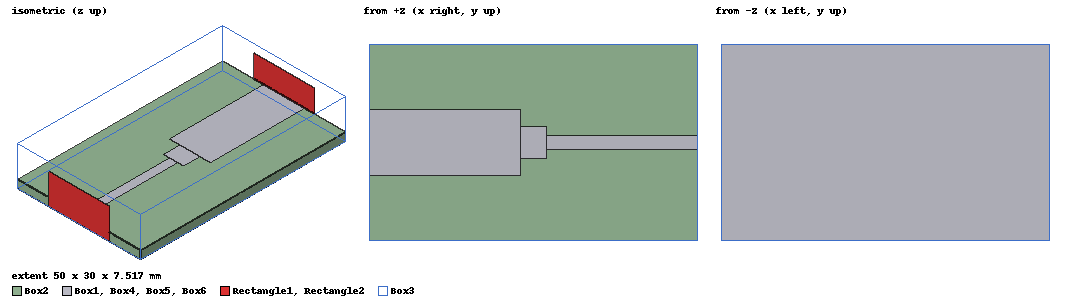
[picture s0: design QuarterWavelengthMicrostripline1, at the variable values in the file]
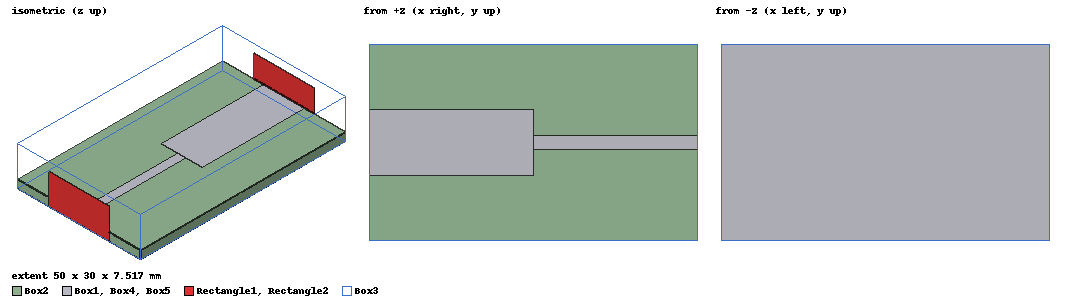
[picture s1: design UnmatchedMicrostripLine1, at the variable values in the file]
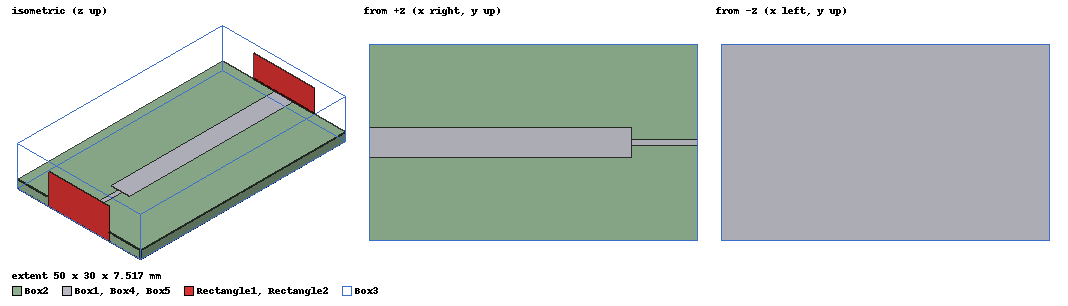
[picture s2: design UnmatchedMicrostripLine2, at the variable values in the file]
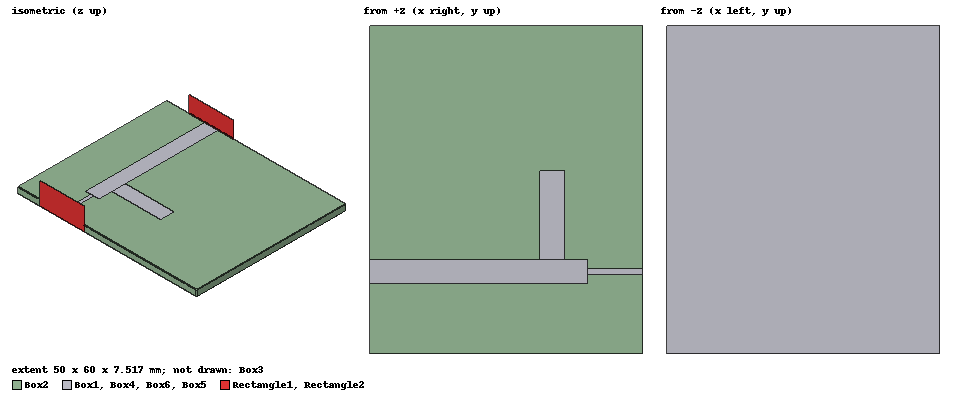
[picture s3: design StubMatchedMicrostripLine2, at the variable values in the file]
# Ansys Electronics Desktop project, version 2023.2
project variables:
  $L = 3.98mm
  $G = 3.98mm
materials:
  vacuum: permittivity=1
  pec: conductivity=1e+30
  air: permittivity=1.0006 permeability=1.0000004
  Teflon (tm): permittivity=2.1 dielectric_loss_tangent=0.001

design QuarterWavelengthMicrostripline1 (HFSS, HFSS Terminal Network, model units mm)
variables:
  Len = 3.98mm
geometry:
  Box1 [pec] = box(corner=(0mm, 0mm, 0mm), size=(50mm, 30mm, 17um))
  Box2 [Teflon (tm)] = box(corner=(0mm, 0mm, 17um), size=(50mm, 30mm, 2mm))
  Box3 [air] = box(corner=(0mm, 0mm, 0mm), size=(50mm, 30mm, 9.5mm))
  Box4 [pec] = box(corner=(0mm, 10mm, 2.017mm), size=(25mm-Len/2, 10mm, 17um))
  Box5 [pec] = box(corner=(25mm+Len/2, 14mm, 2mm), size=(25mm-Len/2, 2mm, 17um))
  Rectangle1 = rectangle(corner=(0mm, 7.5mm, 0mm), y_size=15mm, z_size=7.5mm)
  Rectangle2 = rectangle(corner=(50mm, 7.5mm, 0.017mm), y_size=15mm, z_size=7.5mm)
  Box6 [pec] = box(corner=(25mm-Len/2, 12.555961mm, 2.017mm), size=(Len, 4.888077829mm, 17um))
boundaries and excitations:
  1: Wave Port Objects=Rectangle2 WavePortType=Modal NumModes=1 Modes{Mode1{CharImp=Zpi}}
  2: Wave Port Objects=Rectangle1 WavePortType=Modal NumModes=1 Modes{Mode1{CharImp=Zpi}}
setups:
  Setup1: HfssDriven Frequency=12GHz MaxDeltaS=0.005 MaximumPasses=6 MinimumPasses=1 MinimumConvergedPasses=1 PercentRefinement=30 BasisOrder=1 PortAccuracy=2 DrivenSolverType="Direct Solver"
    sweep Sweep: 10GHz to 16GHz, 401 points; Type=Interpolating InterpTolerance=0.5 InterpMaxSolns=250 PassivityErrorTolerance=0.0001
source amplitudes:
  1:1: 1V 0deg
  2:1: 0V 0deg
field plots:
  Vector_Jsurf1: Jsurf over Box4.face(all 6) on Setup1 : LastAdaptive at Freq=12GHz Phase=0deg
  Vector_Jsurf2: Jsurf over Box6.face(all 6) on Setup1 : LastAdaptive at Freq=12GHz Phase=0deg
  Vector_Jsurf3: Jsurf over Box5.face(all 6) on Setup1 : LastAdaptive at Freq=12GHz Phase=0deg
  Mesh1: MeshPlots in Box2 on Setup1 : LastAdaptive at Freq=12GHz Phase=0deg
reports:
  Terminal S Parameter Plot 1: dB(St(1,1)) vs Freq on Setup1 : Sweep
  Terminal S Parameter Plot 2: dB(St(2,1)) vs Freq on Setup1 : Sweep
  Terminal S Parameter Plot 3: dB(St(1,2)) vs Freq on Setup1 : Sweep
  Terminal S Parameter Plot 4: dB(St(2,2)) vs Freq on Setup1 : Sweep

design UnmatchedMicrostripLine1 (HFSS, HFSS Terminal Network, model units mm)
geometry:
  Box1 [pec] = box(corner=(0mm, 0mm, 0mm), size=(50mm, 30mm, 17um))
  Box2 [Teflon (tm)] = box(corner=(0mm, 0mm, 17um), size=(50mm, 30mm, 2mm))
  Box3 [air] = box(corner=(0mm, 0mm, 0mm), size=(50mm, 30mm, 9.5mm))
  Box4 [pec] = box(corner=(0mm, 10mm, 2.017mm), size=(25mm, 10mm, 17um))
  Box5 [pec] = box(corner=(25mm, 14mm, 2mm), size=(25mm, 2mm, 17um))
  Rectangle1 = rectangle(corner=(0mm, 7.5mm, 0mm), y_size=15mm, z_size=7.5mm)
  Rectangle2 = rectangle(corner=(50mm, 7.5mm, 0.017mm), y_size=15mm, z_size=7.5mm)
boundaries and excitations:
  1: Wave Port Objects=Rectangle2 WavePortType=Modal NumModes=1 Modes{Mode1{CharImp=Zpi}}
  2: Wave Port Objects=Rectangle1 WavePortType=Modal NumModes=1 Modes{Mode1{CharImp=Zpi}}
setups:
  Setup1: HfssDriven Frequency=12GHz MaxDeltaS=0.005 MaximumPasses=8 MinimumPasses=1 MinimumConvergedPasses=1 PercentRefinement=30 BasisOrder=1 PortAccuracy=2 DrivenSolverType="Direct Solver"
    sweep Sweep: 6GHz to 18GHz, 401 points; Type=Interpolating InterpTolerance=0.5 InterpMaxSolns=250 PassivityErrorTolerance=0.0001
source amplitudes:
  1:1: 1V 0deg
  2:1: 0V 0deg
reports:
  Terminal S Parameter Plot 1: dB(St(1,1)) vs Freq on Setup1 : Sweep; markers m1 at 12GHz
  Terminal S Parameter Plot 2: dB(St(2,1)) vs Freq on Setup1 : Sweep
  Terminal S Parameter Plot 3: dB(St(1,2)) vs Freq on Setup1 : Sweep
  Terminal S Parameter Plot 4: dB(St(2,2)) vs Freq on Setup1 : Sweep

design UnmatchedMicrostripLine2 (HFSS, HFSS Terminal Network, model units mm)
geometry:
  Box1 [pec] = box(corner=(0mm, 0mm, 0mm), size=(50mm, 30mm, 17um))
  Box2 [Teflon (tm)] = box(corner=(0mm, 0mm, 17um), size=(50mm, 30mm, 2mm))
  Box3 [air] = box(corner=(0mm, 0mm, 0mm), size=(50mm, 30mm, 9.5mm))
  Box4 [pec] = box(corner=(0mm, 12.75mm, 2.017mm), size=(40mm, 4.5mm, 17um))
  Box5 [pec] = box(corner=(40mm, 14.5mm, 2mm), size=(10mm, 1mm, 17um))
  Rectangle1 = rectangle(corner=(0mm, 7.5mm, 0mm), y_size=15mm, z_size=7.5mm)
  Rectangle2 = rectangle(corner=(50mm, 7.5mm, 0.017mm), y_size=15mm, z_size=7.5mm)
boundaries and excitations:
  1: Wave Port Objects=Rectangle2 WavePortType=Modal NumModes=1 Modes{Mode1{CharImp=Zpi}}
  2: Wave Port Objects=Rectangle1 WavePortType=Modal NumModes=1 Modes{Mode1{CharImp=Zpi}}
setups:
  Setup1: HfssDriven Frequency=5GHz MaxDeltaS=0.005 MaximumPasses=6 MinimumPasses=1 MinimumConvergedPasses=1 PercentRefinement=30 BasisOrder=1 PortAccuracy=2 DrivenSolverType="Direct Solver"
    sweep Sweep: 4GHz to 6GHz, 450 points; Type=Interpolating InterpTolerance=0.5 InterpMaxSolns=250 PassivityErrorTolerance=0.0001
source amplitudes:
  1:1: 1V 0deg
  2:1: 0V 0deg
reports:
  Terminal S Parameter Plot 1: dB(St(1,1)) vs Freq on Setup1 : Sweep; markers MX1 at x=5e+09
  Terminal S Parameter Plot 2: dB(St(2,1)) vs Freq on Setup1 : Sweep
  Terminal S Parameter Plot 3: dB(St(1,2)) vs Freq on Setup1 : Sweep
  Terminal S Parameter Plot 4: dB(St(2,2)) vs Freq on Setup1 : Sweep

design StubMatchedMicrostripLine2 (HFSS, HFSS Terminal Network, model units mm)
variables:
  Offset = 6.6mm
  Length = 16.3mm
  Expansion = 30mm
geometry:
  Box1 [pec] = box(corner=(0mm, 0mm, 0mm), size=(50mm, 30mm+Expansion, 17um))
  Box2 [Teflon (tm)] = box(corner=(0mm, 0mm, 17um), size=(50mm, 30mm+Expansion, 2mm))
  Box3 [air] = box(corner=(0mm, 0mm, 0mm), size=(50mm, 30mm+Expansion, 9.5mm))
  Box4 [pec] = box(corner=(0mm, 12.75mm, 2.017mm), size=(40mm, 4.5mm, 17um))
  Box5 [pec] = box(corner=(40mm, 14.5mm, 2.017mm), size=(10mm, 1mm, 17um))
  Rectangle1 = rectangle(corner=(0mm, 7.5mm, 0mm), y_size=15mm, z_size=7.5mm)
  Rectangle2 = rectangle(corner=(50mm, 7.5mm, 0.017mm), y_size=15mm, z_size=7.5mm)
  Box6 [pec] = box(corner=((40mm-4.5mm/2)-Offset, 17.25mm, 2.017mm), size=(4.5mm, Length, 17um))
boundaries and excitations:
  Rad1: Radiation Objects=Box3
  1: Wave Port Objects=Rectangle2 WavePortType=Modal NumModes=1 Modes{Mode1{CharImp=Zpi}}
  2: Wave Port Objects=Rectangle1 WavePortType=Modal NumModes=1 Modes{Mode1{CharImp=Zpi}}
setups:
  Setup1: HfssDriven Frequency=5GHz MaxDeltaS=0.02 MaximumPasses=6 MinimumPasses=1 MinimumConvergedPasses=1 PercentRefinement=30 BasisOrder=1 PortAccuracy=2 DrivenSolverType="Direct Solver"
    sweep Sweep: 4.8GHz to 5.2GHz, 250 points; Type=Interpolating InterpTolerance=0.5 InterpMaxSolns=250 PassivityErrorTolerance=0.0001
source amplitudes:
  1:1: 1V 0deg
  2:1: 0V 0deg
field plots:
  Mesh1: MeshPlots in Box2 on Setup1 : LastAdaptive at Freq=5GHz Phase=0deg
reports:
  Terminal S Parameter Plot 1: dB(St(1,1)) vs Freq on Setup1 : Sweep
  Terminal S Parameter Plot 2: dB(St(2,1)) vs Freq on Setup1 : Sweep
  Terminal S Parameter Plot 3: dB(St(1,2)) vs Freq on Setup1 : Sweep
  Terminal S Parameter Plot 4: dB(St(2,2)) vs Freq on Setup1 : Sweep
